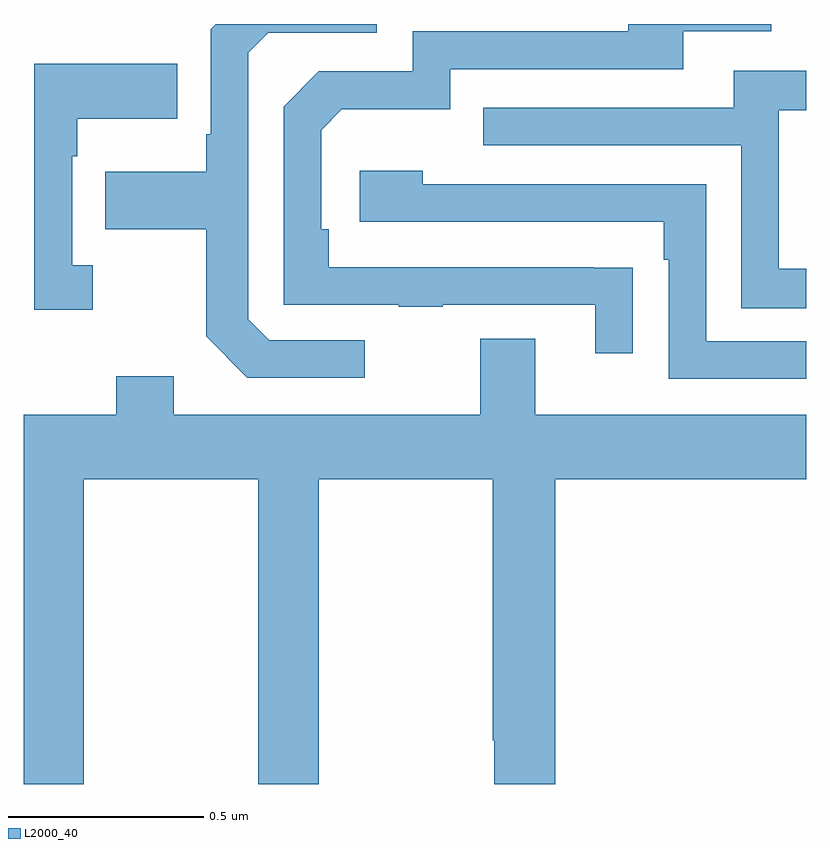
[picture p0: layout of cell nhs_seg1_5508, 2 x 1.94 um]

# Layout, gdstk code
import gdstk
lib = gdstk.Library(unit=1e-6, precision=1e-09)
def P(c, l, *ps):  # polygons
    for p in ps: c.add(gdstk.Polygon(p, *l))
L2000_40 = (2000, 40)

nhs_seg1_5508 = lib.new_cell('nhs_seg1_5508')
P(nhs_seg1_5508, L2000_40, [(180.557,581.576),(180.455,581.576),(180.455,581.577),(179.78,581.577),(179.78,581.674),(179.76,581.674),(179.76,581.928),(179.813,581.981),(180.09,581.981),(180.09,582.084),(180.685,582.084),(180.685,582.18),(180.91,582.18),(180.91,582.199),(180.545,582.199),(180.545,582.18),(179.994,582.18),(179.994,582.078),(179.754,582.078),(179.664,581.988),(179.664,581.481),(179.959,581.481),(179.959,581.476),(180.071,581.476),(180.071,581.481),(180.461,581.481),(180.461,581.358),(180.557,581.358)],
  [(179.872,581.391),(179.628,581.391),(179.574,581.445),(179.574,582.126),(179.625,582.177),(179.902,582.177),(179.902,582.199),(179.491,582.199),(179.478,582.186),(179.478,581.917),(179.466,581.917),(179.466,581.821),(179.209,581.821),(179.209,581.674),(179.466,581.674),(179.466,581.401),(179.571,581.295),(179.872,581.295)],
  [(179.176,581.582),(179.124,581.582),(179.124,581.861),(179.137,581.861),(179.137,581.957),(179.393,581.957),(179.393,582.097),(179.027,582.097),(179.027,581.469),(179.176,581.469)],
  [(181,581.574),(180.93,581.574),(180.93,581.979),(181,581.979),(181,582.079),(180.815,582.079),(180.815,581.985),(180.175,581.985),(180.175,581.889),(180.834,581.889),(180.834,581.473),(181,581.473)],
  [(181,581.388),(180.744,581.388),(180.744,581.79),(180.02,581.79),(180.02,581.824),(179.859,581.824),(179.859,581.694),(180.635,581.694),(180.635,581.597),(180.648,581.597),(180.648,581.292),(181,581.292)],
  [(179.154,581.036),(179.599,581.036),(179.599,580.257),(179.754,580.257),(179.754,581.036),(180.199,581.036),(180.199,580.369),(180.203,580.369),(180.203,580.257),(180.359,580.257),(180.359,581.036),(181,581.036),(181,581.2),(180.307,581.2),(180.307,581.395),(180.167,581.395),(180.167,581.2),(179.383,581.2),(179.383,581.299),(179.236,581.299),(179.236,581.2),(179,581.2),(179,580.257),(179.154,580.257)])

lib.write_gds('nhs_seg1_5508.gds')
